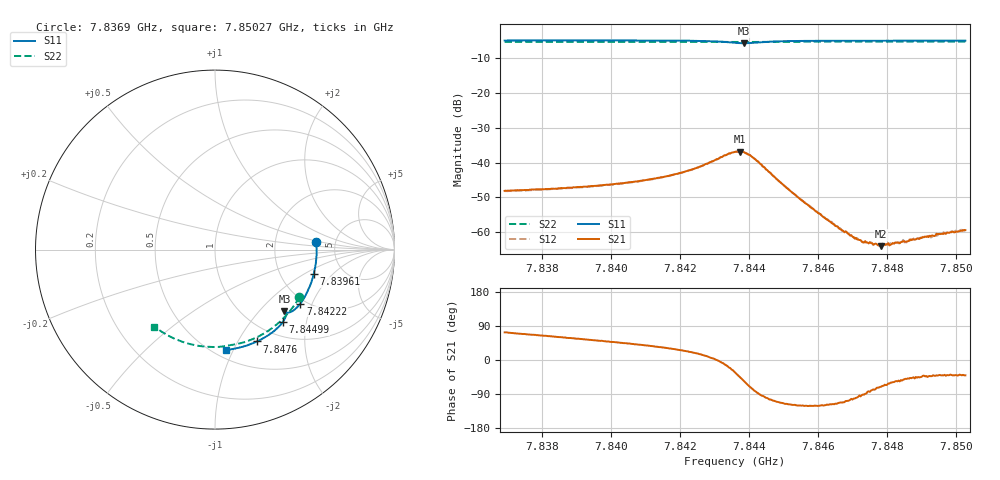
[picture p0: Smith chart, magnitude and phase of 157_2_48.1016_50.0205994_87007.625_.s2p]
#  HZ  S  RI  R  50.00
! Rohde & Schwarz Vector Network Analyzer
! Rohde-Schwarz,ZNB20-2Port,1311601062101988,3.16
! Created: UTC 12/23/2023, 3:50:22 AM
! freq[Hz]  re:S11  im:S11  re:S21  im:S21  re:S12  im:S12  re:S22  im:S22
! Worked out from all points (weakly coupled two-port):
!   401 points, 7.8369 GHz to 7.85027 GHz, reference 50 ohm
!   highest |S21| = -36.83 dB at 7.84372 GHz (marker M1); lowest = -64.0 dB at 7.84783 GHz (marker M2)
!   lowest |S11| = -5.7 dB at 7.84385 GHz (marker M3), VSWR 3.14, Z = 74.2 - j69.6 ohm
!   |S11| at or under -10 dB: nowhere
!   |S22| runs from -5.4 to -5.3 dB; largest |S21 - S12| = 0.00033
!   S11 on the Smith chart (normalised r, x): 7.8369 GHz: 3.55, +0.44; 7.83961 GHz: 3.07, -1.24; 7.84222 GHz: 1.87, -1.64; 7.84499 GHz: 1.26, -1.47; 7.8476 GHz: 0.81, -1.21; 7.85027 GHz: 0.57, -0.94
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7.836902e9  0.5644 0.0423  0.00116 0.00376  0.0012 0.00368  0.4703 -0.2642
7.839141e9  0.5568 -0.1064  0.00256 0.00367  0.00254 0.00362  0.3753 -0.3885
7.839609e9  0.55 -0.1373  0.00292 0.00366  0.00291 0.00361  0.3513 -0.4107
7.841381e9  0.5073 -0.2502  0.00502 0.00339  0.00495 0.00342  0.2486 -0.4805
7.842217e9  0.4753 -0.3008  0.00705 0.00294  0.00701 0.00295  0.1951 -0.5049
7.843086e9  0.4258 -0.3458  0.0112 -0.000195  0.0113 -0.000208  0.1367 -0.5227
7.843587e9  0.3915 -0.3493  0.012 -0.00769  0.0121 -0.00758  0.1033 -0.5291
7.843721e9  0.3874 -0.3459  0.0103 -0.0101  0.0104 -0.0101  0.0946 -0.5304
7.843855e9  0.3871 -0.3433  0.00782 -0.0117  0.00768 -0.0116  0.0863 -0.532
7.844189e9  0.3943 -0.3511  0.00132 -0.011  0.00128 -0.0109  0.0647 -0.5364
7.844991e9  0.3781 -0.4035  -0.00196 -0.00436  -0.00194 -0.00438  0.00875 -0.5424
7.845827e9  0.3371 -0.4472  -0.00114 -0.00189  -0.00113 -0.00191  -0.0502 -0.5412
7.846696e9  0.2884 -0.4826  -0.000403 -0.000985  -0.000349 -0.000988  -0.1108 -0.5327
7.846997e9  0.2708 -0.4929  -0.000214 -0.000838  -0.000199 -0.000829  -0.1315 -0.5282
7.847265e9  0.2549 -0.5015  -3.79e-05 -0.000736  -5.88e-05 -0.000745  -0.1496 -0.5234
7.847599e9  0.2347 -0.5115  0.00014 -0.000654  0.000106 -0.000645  -0.1721 -0.5167
7.847833e9  0.2203 -0.518  0.000213 -0.000595  0.00022 -0.000615  -0.1877 -0.5114
7.848067e9  0.2058 -0.5238  0.000302 -0.000572  0.000318 -0.000604  -0.203 -0.5057
7.848502e9  0.1785 -0.5339  0.000472 -0.000577  0.000444 -0.000564  -0.2312 -0.4938
7.849705e9  0.1009 -0.5535  0.000712 -0.00063  0.000755 -0.000634  -0.3047 -0.4529
7.850106e9  0.0744 -0.5576  0.000808 -0.000649  0.000833 -0.000656  -0.3278 -0.4367
7.850273e9  0.0634 -0.5588  0.000817 -0.000701  0.000812 -0.00065  -0.3371 -0.4297
